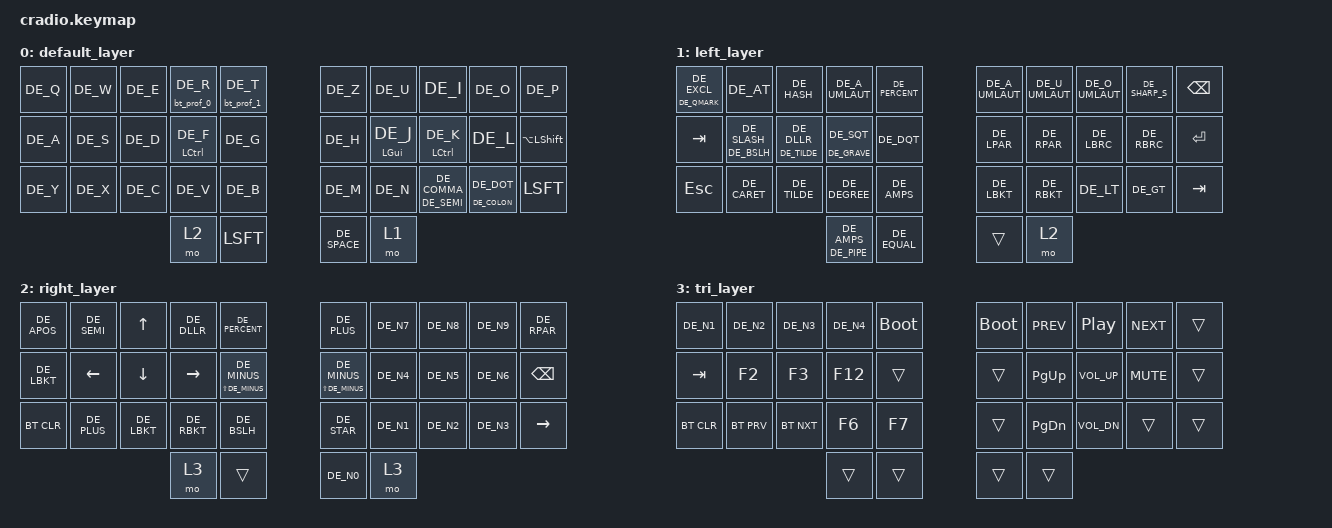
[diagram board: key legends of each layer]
/*
 * Copyright (c) 2020 The ZMK Contributors
 *
 * SPDX-License-Identifier: MIT

 */

#include <behaviors.dtsi>
#include <dt-bindings/zmk/keys.h>
#include <dt-bindings/zmk/bt.h>
#include <locale/keys_de.h>

// macOS German keyboard overrides
#undef DE_AT
#define DE_AT (RA(ZMK_HID_USAGE(HID_USAGE_KEY, HID_USAGE_KEY_KEYBOARD_L)))

#undef DE_BSLH  
#define DE_BSLH (RA(LS(ZMK_HID_USAGE(HID_USAGE_KEY, HID_USAGE_KEY_KEYBOARD_7_AND_AMPERSAND))))

#undef DE_LBRC
#define DE_LBRC (RA(ZMK_HID_USAGE(HID_USAGE_KEY, HID_USAGE_KEY_KEYBOARD_8_AND_ASTERISK)))

#undef DE_RBRC
#define DE_RBRC (RA(ZMK_HID_USAGE(HID_USAGE_KEY, HID_USAGE_KEY_KEYBOARD_9_AND_LEFT_PARENTHESIS)))

#undef DE_LT
#define DE_LT (ZMK_HID_USAGE(HID_USAGE_KEY, HID_USAGE_KEY_KEYBOARD_GRAVE_ACCENT_AND_TILDE))

#undef DE_GT
#define DE_GT (LS(ZMK_HID_USAGE(HID_USAGE_KEY, HID_USAGE_KEY_KEYBOARD_GRAVE_ACCENT_AND_TILDE)))

#undef DE_PIPE
#define DE_PIPE (RA(ZMK_HID_USAGE(HID_USAGE_KEY, HID_USAGE_KEY_KEYBOARD_7_AND_AMPERSAND)))

#undef DE_TILDE
#define DE_TILDE (RA(ZMK_HID_USAGE(HID_USAGE_KEY, HID_USAGE_KEY_KEYBOARD_N)))

#undef DE_LBKT
#define DE_LBKT (RA(ZMK_HID_USAGE(HID_USAGE_KEY, HID_USAGE_KEY_KEYBOARD_5_AND_PERCENT)))

#undef DE_RBKT
#define DE_RBKT (RA(ZMK_HID_USAGE(HID_USAGE_KEY, HID_USAGE_KEY_KEYBOARD_6_AND_CARET)))


&mt {
  flavor = "tap-preferred";
  tapping_term_ms = <200>;
};




/ {

    macros {
        bt_prof_0: bt_prof_0 {
            compatible = "zmk,behavior-macro";
            label = "BT_PROF_0";
            #binding-cells = <0>;
            bindings = <&bt BT_SEL 0>;
        };
        bt_prof_1: bt_prof_1 {
            compatible = "zmk,behavior-macro";
            label = "BT_PROF_1";
            #binding-cells = <0>;
            bindings = <&bt BT_SEL 1>;
        };
    };

    behaviors {
        bt_0_hold: bt_0_hold {
            compatible = "zmk,behavior-hold-tap";
            label = "BT_0_HOLD";
            #binding-cells = <2>;
            flavor = "tap-preferred";
            tapping-term-ms = <3000>;
            bindings = <&bt_prof_0>, <&kp>;
        };
        bt_1_hold: bt_1_hold {
            compatible = "zmk,behavior-hold-tap";
            label = "BT_1_HOLD";
            #binding-cells = <2>;
            flavor = "tap-preferred";
            tapping-term-ms = <3000>;
            bindings = <&bt_prof_1>, <&kp>;
        };
    }; 

    combos {
        compatible = "zmk,combos";
	/*
                           KEY POSITIONS
          ╭────────────────────╮ ╭────────────────────╮
          │  0   1   2   3   4 │ │  5   6   7   8   9 │
          │ 10  11  12  13  14 │ │ 15  16  17  18  19 │
          │ 20  21  22  23  24 │ │ 25  26  27  28  29 │
          ╰───────────╮ 30  31 │ │ 32  33 ╭───────────╯
                      ╰────────╯ ╰────────╯
        */
	
        combo_esc {
            timeout-ms = <50>;
            key-positions = <0 1>;
            bindings = <&kp ESC>;
        };
	
	combo_ctrlaltright {
            timeout-ms = <50>;
            key-positions = <16 17>;
            bindings = <&kp LA(LSHIFT)>;
        };
	
	combo_rectangle {
            timeout-ms = <50>;
            key-positions = <6 7>;
            bindings = <&kp LG(LSHIFT)>;
        };
      
      	/* Activates the selection with the mouse for an area to screenshot. 
	The screenshot is copied to the clipboard. */
	screenshot_copy_to_clipboard {
            timeout-ms = <50>;
            key-positions = <12 13>;
            bindings = <&kp LG(LC(LS(NUM_4)))>;
        };
	
	/* Activates the selection with the mouse for an area to screenshot. 
	The screenshot is saved to the specified location. */
	screenshot_with_save {
            timeout-ms = <50>;
            key-positions = <22 23>;
            bindings = <&kp LG(LS(NUM_4))>;
        };
	
         combo_tab {
            timeout-ms = <50>;
            key-positions = <10 11>;
            bindings = <&kp TAB>;
        };
        
            combo_ralt {
            timeout-ms = <50>;
            key-positions = <17 16>;
            bindings = <&kp RALT>;
        };
        
                    combo_lalt {
            timeout-ms = <50>;
            key-positions = <11 12>;
            bindings = <&kp LALT>;
        };
        
           combo_rgui {
            timeout-ms = <50>;
            key-positions = <17 18>;
            bindings = <&kp RGUI>;
        };
	
	to_last_layer {
            timeout-ms = <50>;
            key-positions = <17 18>;
            bindings = <&mo 3>;
        };
        
    };

    



        keymap {
                compatible = "zmk,keymap";
                
       		default_layer {
		bindings = <
		&kp DE_Q &kp DE_W &kp DE_E &bt_0_hold 0 DE_R &bt_1_hold 0 DE_T 						&kp DE_Z &kp DE_U  &kp DE_I &kp DE_O &kp DE_P
		&kp DE_A &kp DE_S &kp DE_D &mt LCTRL DE_F &kp DE_G 			      			&kp DE_H &mt LGUI DE_J &mt LCTRL DE_K &kp DE_L &kp LA(LSHIFT)
		&kp DE_Y &kp DE_X &kp DE_C &kp DE_V &kp DE_B				        &kp DE_M &kp DE_N  &mt DE_SEMI DE_COMMA &mt DE_COLON DE_DOT &kp LSFT 
          				 &mo 2 &kp LSFT  		        	&kp DE_SPACE &mo 1 
		>;
		};

       		left_layer {
		bindings = <
		&mt DE_QMARK DE_EXCL &kp DE_AT &kp DE_HASH &kp DE_A_UMLAUT  &kp DE_PERCENT				&kp DE_A_UMLAUT &kp DE_U_UMLAUT &kp DE_O_UMLAUT &kp DE_SHARP_S &kp BKSP 
		&kp TAB &mt DE_BSLH DE_SLASH &mt DE_TILDE DE_DLLR &mt DE_GRAVE DE_SQT &kp DE_DQT 			&kp DE_LPAR &kp DE_RPAR &kp DE_LBRC &kp DE_RBRC &kp ENTER 
		&kp ESC &kp DE_CARET &kp DE_TILDE &kp DE_DEGREE &kp DE_AMPS 		&kp DE_LBKT &kp DE_RBKT &kp DE_LT &kp DE_GT &kp TAB 
				    &mt DE_PIPE DE_AMPS &kp DE_EQUAL				&trans &mo 2 
		>;
		};
		
		right_layer {
		bindings = <
		&kp DE_APOS &kp DE_SEMI &kp UP  &kp DE_DLLR  &kp DE_PERCENT    			&kp DE_PLUS  &kp DE_N7 &kp DE_N8 &kp DE_N9 &kp DE_RPAR 
		&kp DE_LBKT  &kp LEFT  &kp DOWN  &kp RIGHT  &mt LS(DE_MINUS) DE_MINUS		&mt LS(DE_MINUS) DE_MINUS &kp DE_N4  &kp DE_N5  &kp DE_N6   &kp BKSP
		&bt BT_CLR  &kp DE_PLUS &kp DE_LBKT &kp DE_RBKT   &kp DE_BSLH    			&kp DE_STAR &kp DE_N1 &kp DE_N2 &kp DE_N3  &kp RIGHT
				  &mo 3 &trans  				&kp DE_N0  &mo 3 
		>;
		};	
		
		tri_layer {
		bindings = <
		&kp DE_N1  &kp DE_N2 &kp DE_N3 &kp DE_N4 &bootloader 			&bootloader &kp C_PREV   &kp C_PP   &kp C_NEXT  &trans
		&kp TAB &kp F2 &kp F3 &kp F12 &trans  				&trans &kp PG_UP  &kp C_VOL_UP &kp C_MUTE &trans 
		&bt BT_CLR  &bt BT_PRV &bt BT_NXT &kp F6 &kp F7   			&trans &kp PG_DN  &kp C_VOL_DN &trans &trans   
					 &trans &trans  				&trans &trans 
		>;
		};	
        
	};
};
